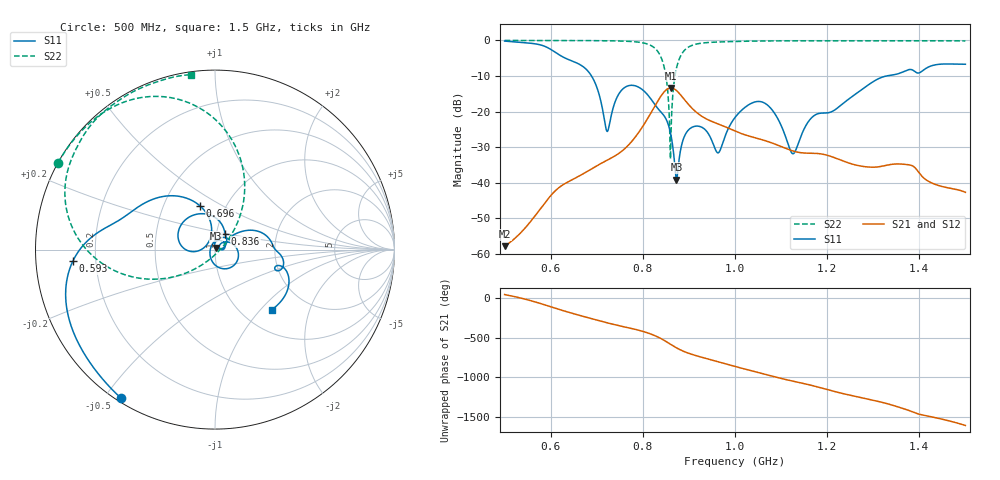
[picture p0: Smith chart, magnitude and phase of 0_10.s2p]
! TOUCHSTONE file generated by CST MICROWAVE STUDIO
! Date and time: Sat Oct 24 11:12:19 2020
! Project name: Scenario_1_Circular_Tissue_in_Line.cst
! Parameters = {L_HA=400; MT=2.54; Rad_Dielectric=30; Rad_Lower=7.3; Rad_Upper=30; a_HA=580; a_WG=246; b_HA=500; b_WG=121; c_HA=0; c_WG=187; d_feed=85; dx1=328.88; h_feed=15; h_lower=18; h_upper=40}
! Header version: 2018
! Port assignment regex: !\s*Touchstone port\s*([0-9]+)\s*=\s*(CST MWS port|CST DS port)\s*([0-9]+|Zmin|Zmax)\s*\(\"(.*)\"\)(\s*mode\s*([0-9]+))?.*
! Touchstone port assignment:
! Touchstone port 1 = CST MWS port 1 ("")
! Touchstone port 2 = CST MWS port 2 ("")
# GHz S DB R 50
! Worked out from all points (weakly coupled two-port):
!   1003 points, 500 MHz to 1.5 GHz, reference 50 ohm
!   highest |S21| = -13.33 dB at 861 MHz (marker M1); lowest = -57.8 dB at 500 MHz (marker M2)
!   lowest |S11| = -39.1 dB at 873 MHz (marker M3), VSWR 1.02, Z = 50.7 + j0.88 ohm
!   |S11| at or under -10 dB: 688.7 MHz to 1.328 GHz (639.5 MHz wide, 63.4 % of centre)
!   |S22| runs from -33.3 to 0.0 dB; largest |S21 - S12| = 1.3e-06
!   S11 on the Smith chart (normalised r, x): 500 MHz: 0.01, -0.55; 593 MHz: 0.11, -0.04; 696 MHz: 0.76, +0.39; 836 MHz: 1.10, +0.19; 1.5 GHz: 1.36, -1.16
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0.5  -0.18 -122.3  -57.80 44.5  -57.80 44.5  -0.01 151.1
0.593  -2.00 -175.4  -44.71 -96.4  -44.71 -96.4  -0.02 144.7
0.667  -7.06 140.5  -37.72 134.8  -37.72 134.8  -0.04 138.4
0.696  -11.83 108.8  -35.53 88.9  -35.53 88.9  -0.06 135.3
0.723  -25.57 146.4  -33.61 47.2  -33.61 47.2  -0.09 131.9
0.744  -15.96 -179.1  -32.08 17.7  -32.08 17.7  -0.14 128.6
0.767  -12.79 151.7  -29.64 -11.9  -29.64 -11.9  -0.24 123.9
0.834  -19.35 58.7  -16.69 -134.9  -16.69 -134.9  -3.38 85.9
0.836  -19.65 56.6  -16.28 -140.6  -16.28 -140.6  -3.81 83.3
0.848  -21.55 38.8  -14.21 -179.1  -14.21 -179.1  -8.52 63.8
0.857  -24.41 19.7  -13.41 148.7  -13.41 148.7  -20.27 38.1
0.861  -26.62 11.5  -13.33 134.1  -13.33 134.1  -26.96 -109.6
0.873  -39.09 51.4  -14.08 92.4  -14.08 92.4  -7.77 -156.3
0.901  -24.90 64.8  -18.26 20.7  -18.26 20.7  -1.72 169.5
0.932  -24.71 15.6  -21.63 -33.1  -21.63 -33.1  -0.70 153.8
0.964  -31.55 22.8  -23.50 -84.7  -23.50 -84.7  -0.44 145.8
1  -21.65 31.1  -25.44 -142.6  -25.44 -142.6  -0.29 140.3
1.065  -17.65 -51.0  -28.13 119.4  -28.13 119.4  -0.15 133.0
1.126  -31.84 163.3  -31.07 31.9  -31.07 31.9  -0.11 127.5
1.167  -21.62 55.2  -31.70 -22.2  -31.70 -22.2  -0.10 124.2
1.334  -9.86 5.3  -34.93 102.2  -34.93 102.2  -0.09 111.5
1.5  -6.69 -46.6  -42.67 -166.4  -42.67 -166.4  -0.14 97.9
